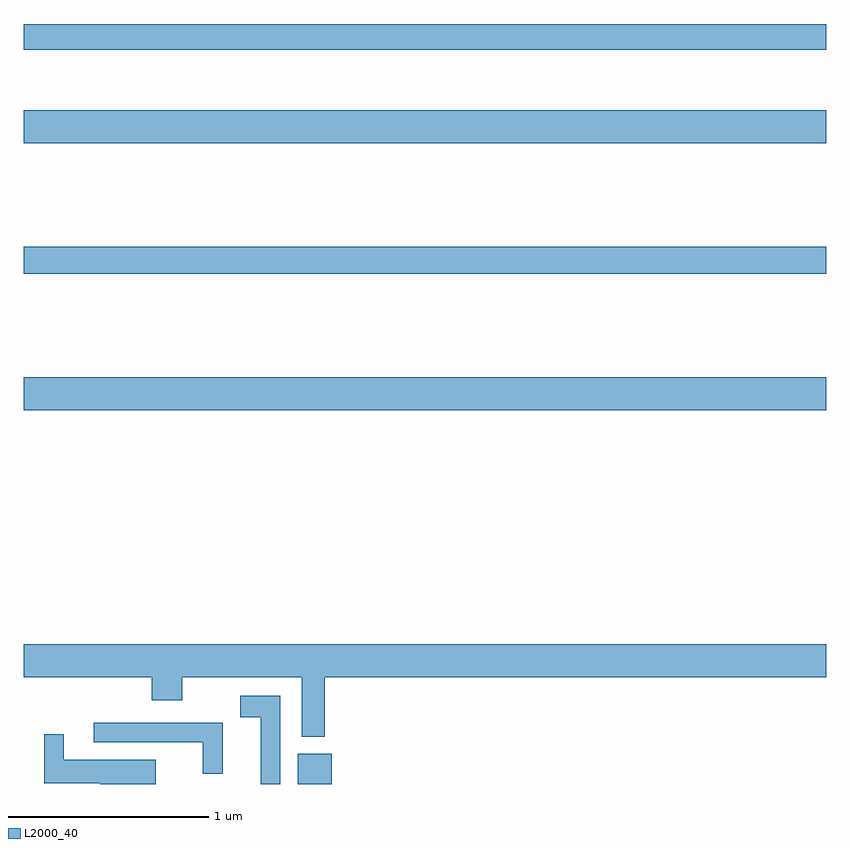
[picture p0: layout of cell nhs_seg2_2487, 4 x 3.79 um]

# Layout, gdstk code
import gdstk
lib = gdstk.Library(unit=1e-6, precision=1e-09)
def R(c, l, rs):  # rectangles x0, y0, x1, y1
    for r in rs: c.add(gdstk.rectangle(r[:2], r[2:], *l))
def P(c, l, *ps):  # polygons
    for p in ps: c.add(gdstk.Polygon(p, *l))
L2000_40 = (2000, 40)

nhs_seg2_2487 = lib.new_cell('nhs_seg2_2487')
R(nhs_seg2_2487, L2000_40, [(242.366,617.8,242.536,617.95), (241,619.664,245,619.828), (241,620.344,245,620.48), (241,620.996,245,621.16), (241,621.462,245,621.59)])
P(nhs_seg2_2487, L2000_40, [(242.501,618.332),(245,618.332),(245,618.496),(241,618.496),(241,618.332),(241.637,618.332),(241.637,618.218),(241.789,618.218),(241.789,618.332),(242.385,618.332),(242.385,618.035),(242.501,618.035)],
  [(242.277,618.24),(242.079,618.24),(242.079,618.132),(242.18,618.132),(242.18,617.848),(242.181,617.848),(242.181,617.8),(242.277,617.8)],
  [(241.991,618.105),(241.347,618.105),(241.347,618.009),(241.891,618.009),(241.891,617.85),(241.991,617.85)],
  [(241.657,617.92),(241.198,617.92),(241.198,618.049),(241.101,618.049),(241.101,617.804),(241.38,617.804),(241.38,617.8),(241.657,617.8)])

lib.write_gds('nhs_seg2_2487.gds')
